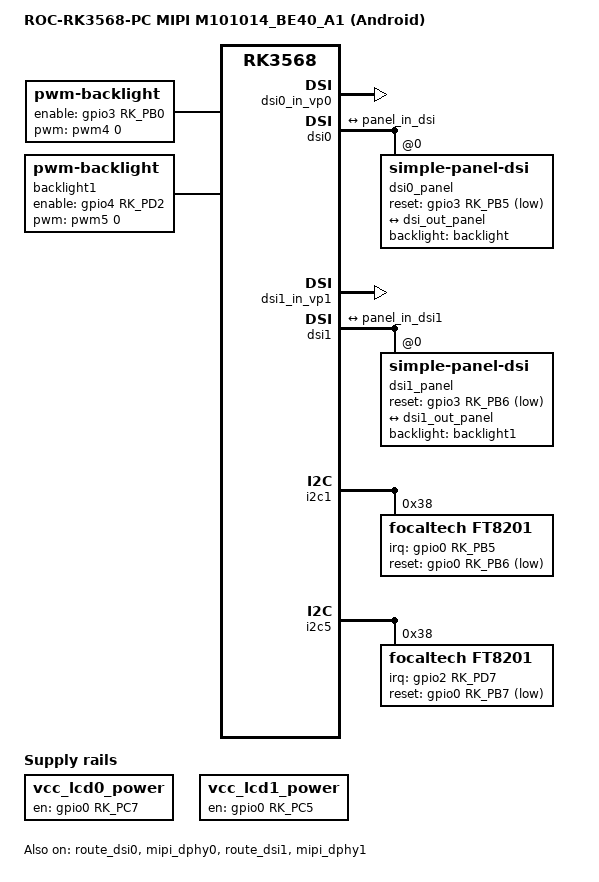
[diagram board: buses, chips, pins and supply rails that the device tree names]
// SPDX-License-Identifier: (GPL-2.0+ OR MIT)
/*
 * Copyright (c) 2020 Rockchip Electronics Co., Ltd.
 *
 */

 /dts-v1/;

#include "rk3568-firefly-roc-pc.dtsi"

/ {
    model = "ROC-RK3568-PC MIPI M101014_BE40_A1 (Android)";
    compatible = "rockchip,rk3568-firefly-roc-pc", "rockchip,rk3568";

    vcc_lcd0_power: vcc-lcd0-power-regulator {
        compatible = "regulator-fixed";
        enable-active-high;
        gpio = <&gpio0 RK_PC7 GPIO_ACTIVE_HIGH>;
        pinctrl-names = "default";
        pinctrl-0 = <&vcc_lcd0_power_en>;
        regulator-name = "vcc_lcd0_power_en";
        regulator-always-on;
    };

    vcc_lcd1_power: vcc-lcd1-power-regulator {
        compatible = "regulator-fixed";
		enable-active-high;
		gpio = <&gpio0 RK_PC5 GPIO_ACTIVE_HIGH>;
		pinctrl-names = "default";
		pinctrl-0 = <&vcc_lcd1_power_en>;
		regulator-name = "vcc_lcd1_power_en";
		regulator-always-on;
    };

    backlight: backlight {
        status = "okay";
        compatible = "pwm-backlight";
        enable-gpios = <&gpio3 RK_PB0 GPIO_ACTIVE_HIGH>;
        pwms = <&pwm4 0 50000 1>;
        brightness-levels = <
			 95  95  95  95  95  95  95  95
			 95  95  95  95  95  95  95  95
			 95  95  95  95  95  95  95  95
			 95  95  95  95  95  95  95  95
			 95  95  95  95  95  95  95  95
			 95  95  95  95  95  95  95  95
			 95  95  95  95  95  95  95  95
			 95  95  95  95  95  95  95  95
			 95  95  95  95  95  95  95  95
			 95  95  95  95  95  95  95  95
			 95  95  95  95  95  95  95  95
			 88  89  90  91  92  93  94  95
			 96  97  98  99 100 101 102 103
			104 105 106 107 108 109 110 111
			112 113 114 115 116 117 118 119
			120 121 122 123 124 125 126 127
			128 129 130 131 132 133 134 135
			136 137 138 139 140 141 142 143
			144 145 146 147 148 149 150 151
			152 153 154 155 156 157 158 159
			160 161 162 163 164 165 166 167
			168 169 170 171 172 173 174 175
			176 177 178 179 180 181 182 183
			184 185 186 187 188 189 190 191
			192 193 194 195 196 197 198 199
			200 201 202 203 204 205 206 207
			208 209 210 211 212 213 214 215
			216 217 218 219 220 221 222 223
			224 225 226 227 228 229 230 231
			232 233 234 235 236 237 238 239
			240 241 242 243 244 245 246 247
			248 249 250 251 252 253 254 255
        >;
        default-brightness-level = <200>;
    };

    backlight1: backlight1 {
        status = "okay";
        compatible = "pwm-backlight";
        enable-gpios = <&gpio4 RK_PD2 GPIO_ACTIVE_HIGH>;
        pwms = <&pwm5 0 50000 1>;
        brightness-levels = <
			 95  95  95  95  95  95  95  95
			 95  95  95  95  95  95  95  95
			 95  95  95  95  95  95  95  95
			 95  95  95  95  95  95  95  95
			 95  95  95  95  95  95  95  95
			 95  95  95  95  95  95  95  95
			 95  95  95  95  95  95  95  95
			 95  95  95  95  95  95  95  95
			 95  95  95  95  95  95  95  95
			 95  95  95  95  95  95  95  95
			 95  95  95  95  95  95  95  95
			 88  89  90  91  92  93  94  95
			 96  97  98  99 100 101 102 103
			104 105 106 107 108 109 110 111
			112 113 114 115 116 117 118 119
			120 121 122 123 124 125 126 127
			128 129 130 131 132 133 134 135
			136 137 138 139 140 141 142 143
			144 145 146 147 148 149 150 151
			152 153 154 155 156 157 158 159
			160 161 162 163 164 165 166 167
			168 169 170 171 172 173 174 175
			176 177 178 179 180 181 182 183
			184 185 186 187 188 189 190 191
			192 193 194 195 196 197 198 199
			200 201 202 203 204 205 206 207
			208 209 210 211 212 213 214 215
			216 217 218 219 220 221 222 223
			224 225 226 227 228 229 230 231
			232 233 234 235 236 237 238 239
			240 241 242 243 244 245 246 247
			248 249 250 251 252 253 254 255
        >;
        default-brightness-level = <200>;
	};
};

&route_dsi0 {
    status = "okay";
    connect = <&vp0_out_dsi0>;
};

&mipi_dphy0 {
    status = "okay";
};

&dsi0_in_vp0 {
    status = "okay";
};

&dsi0_in_vp1 {
    status = "disabled";
};

/*
 * mipi_dphy0 needs to be enabled
 * when dsi0 is enabled
 */
&dsi0 {
    status = "okay";
    //rockchip,lane-rate = <1000>;
    dsi0_panel: panel@0 {
        status = "okay";
        compatible = "simple-panel-dsi";
        reg = <0>;
	    backlight = <&backlight>;

        //enable-gpios = <&gpio0 RK_PC7 GPIO_ACTIVE_HIGH>;
        reset-gpios = <&gpio3 RK_PB5 GPIO_ACTIVE_LOW>;
        enable-delay-ms = <35>;
        prepare-delay-ms = <6>;
        reset-delay-ms = <0>;
        init-delay-ms = <20>;
        unprepare-delay-ms = <0>;
	    disable-delay-ms = <20>;
        size,width = <120>;
        size,height = <170>;
        dsi,flags = <(MIPI_DSI_MODE_VIDEO | MIPI_DSI_MODE_VIDEO_BURST | MIPI_DSI_MODE_LPM | MIPI_DSI_MODE_EOT_PACKET)>;
        dsi,format = <MIPI_DSI_FMT_RGB888>;
        dsi,lanes  = <4>;

        disp_timings0: display-timings {
            native-mode = <&dsi0_timing0>;
            dsi0_timing0: timing0 {
                clock-frequency = <76000000>;//<80000000>;
                hactive = <800>;//<768>;
                vactive = <1280>;
                hsync-len = <14>;   //20, 50,10
                hback-porch = <25>; //50, 56,10
                hfront-porch = <25>;//50, 30,180
                vsync-len = <8>;//4
                vback-porch = <32>;//4
                vfront-porch = <146>;//8
                hsync-active = <0>;
                vsync-active = <0>;
                de-active = <0>;
                pixelclk-active = <0>;
            };
        };

        ports {
            #address-cells = <1>;
            #size-cells = <0>;

            port@0 {
                reg = <0>;
                panel_in_dsi: endpoint {
                    remote-endpoint = <&dsi_out_panel>;
                };
            };
        };
    };

    ports {
        #address-cells = <1>;
        #size-cells = <0>;

        port@1 {
            reg = <1>;
            dsi_out_panel: endpoint {
            remote-endpoint = <&panel_in_dsi>;
            };
        };
	};
};

&route_dsi1 {
    status = "okay";
    connect = <&vp1_out_dsi1>;
};

&mipi_dphy1 {
    status = "okay";
};

&dsi1_in_vp0 {
    status = "disabled";
};

&dsi1_in_vp1 {
    status = "okay";
};

/*
 * mipi_dphy1 needs to be enabled
 * when dsi1 is enabled
 */
&dsi1 {
    status = "okay";
    //rockchip,lane-rate = <1000>;
    dsi1_panel: panel@0 {
        status = "okay";
        compatible = "simple-panel-dsi";
        reg = <0>;
        backlight = <&backlight1>;

        //enable-gpios = <&gpio0 RK_PC5 GPIO_ACTIVE_HIGH>;
	    reset-gpios = <&gpio3 RK_PB6 GPIO_ACTIVE_LOW>;

        enable-delay-ms = <35>;
        prepare-delay-ms = <6>;
        reset-delay-ms = <0>;
        init-delay-ms = <20>;
        unprepare-delay-ms = <0>;
        disable-delay-ms = <20>;
        size,width = <120>;
        size,height = <170>;
        dsi,flags = <(MIPI_DSI_MODE_VIDEO | MIPI_DSI_MODE_VIDEO_BURST | MIPI_DSI_MODE_LPM | MIPI_DSI_MODE_EOT_PACKET)>;
        dsi,format = <MIPI_DSI_FMT_RGB888>;
        dsi,lanes  = <4>;

        disp_timings1: display-timings {
            native-mode = <&dsi1_timing0>;
            dsi1_timing0: timing0 {
                clock-frequency = <76000000>;//<80000000>;
                hactive = <800>;//<768>;
                vactive = <1280>;
                hsync-len = <14>;   //20, 50,10
                hback-porch = <25>; //50, 56,10
                hfront-porch = <25>;//50, 30,180
	            vsync-len = <8>;//4
	            vback-porch = <32>;//4
	            vfront-porch = <146>;//8
	            hsync-active = <0>;
	            vsync-active = <0>;
	            de-active = <0>;
                pixelclk-active = <0>;
            };
        };

        ports {
            #address-cells = <1>;
            #size-cells = <0>;

            port@0 {
                reg = <0>;
                panel_in_dsi1: endpoint {
                    remote-endpoint = <&dsi1_out_panel>;
                };
            };
        };
	};

    ports {
        #address-cells = <1>;
        #size-cells = <0>;

        port@1 {
            reg = <1>;
            dsi1_out_panel: endpoint {
            remote-endpoint = <&panel_in_dsi1>;
            };
        };
	};
};

&i2c1 {
    focaltech@38 {
        status = "okay";
        compatible = "focaltech,ft8201";
        reg = <0x38>;
        focaltech,irq-gpio = <&gpio0 RK_PB5 IRQ_TYPE_LEVEL_LOW>;
        focaltech,reset-gpio = <&gpio0 RK_PB6 GPIO_ACTIVE_LOW>;
        focaltech,display-coords =  <0 0 800 1280>;// x_min, y_min, x_max, y_max
        focaltech,max-touch-number = <5>;
        //focaltech,have-key;
        //focaltech,key-number = <3>;
    };
};

&i2c5 {
    focaltech@38 {
        status = "okay";
        compatible = "focaltech,ft8201";
        reg = <0x38>;
        focaltech,irq-gpio = <&gpio2 RK_PD7 IRQ_TYPE_LEVEL_LOW>;
        focaltech,reset-gpio = <&gpio0 RK_PB7 GPIO_ACTIVE_LOW>;
        focaltech,display-coords =  <0 0 800 1280>;// x_min, y_min, x_max, y_max
        focaltech,max-touch-number = <5>;
        //focaltech,have-key;
        //focaltech,key-number = <3>;
    };
};


&hdmi {
    status = "disabled";
};

&hdmi_in_vp0 {
    status = "disabled";
};

&hdmi_in_vp1 {
    status = "disabled";
};

&pinctrl {
    lcd {
        vcc_lcd0_power_en: vcc-lcd0-power-en {
            rockchip,pins = <0 RK_PC7 RK_FUNC_GPIO &pcfg_pull_none>;
        };
        vcc_lcd1_power_en: vcc-lcd1-power-en {
    	    rockchip,pins = <0 RK_PC5 RK_FUNC_GPIO &pcfg_pull_none>;
	    };
	};
};
